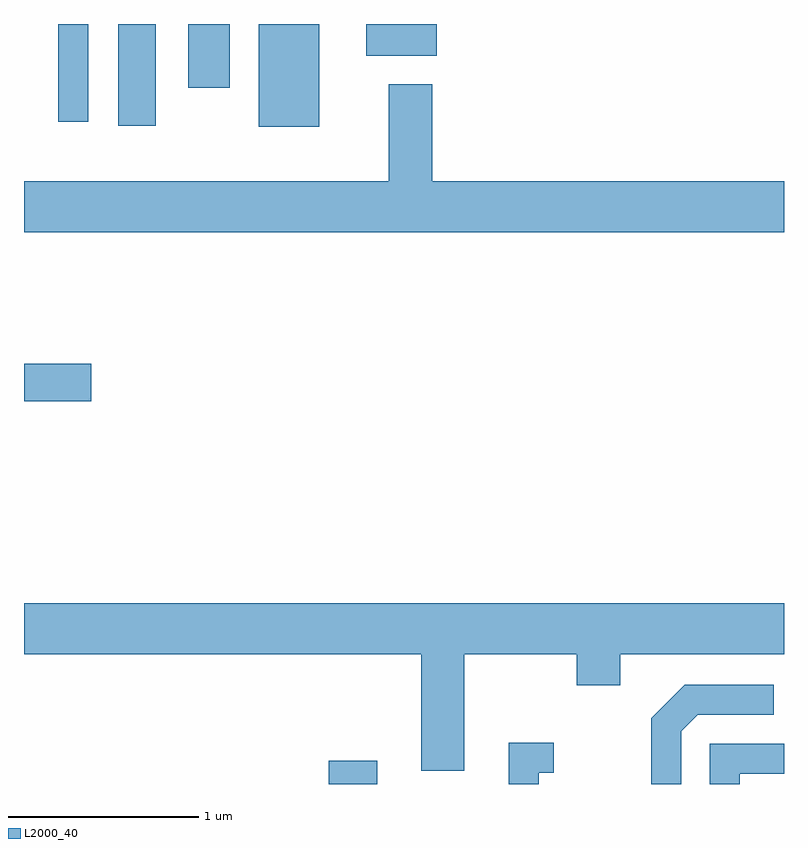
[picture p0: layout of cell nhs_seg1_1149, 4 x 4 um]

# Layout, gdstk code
import gdstk
lib = gdstk.Library(unit=1e-6, precision=1e-09)
def R(c, l, rs):  # rectangles x0, y0, x1, y1
    for r in rs: c.add(gdstk.rectangle(r[:2], r[2:], *l))
def P(c, l, *ps):  # polygons
    for p in ps: c.add(gdstk.Polygon(p, *l))
L2000_40 = (2000, 40)

nhs_seg1_1149 = lib.new_cell('nhs_seg1_1149')
R(nhs_seg1_1149, L2000_40, [(221.216,967.712,221.469,967.834), (219.611,969.726,219.964,969.924), (220.846,971.171,221.164,971.712), (220.106,971.176,220.304,971.712), (219.791,971.198,219.949,971.712), (220.476,971.376,220.694,971.712), (221.411,971.546,221.784,971.712)])
P(nhs_seg1_1149, L2000_40, [(223.611,970.884),(221.759,970.884),(221.759,971.394),(221.531,971.394),(221.531,970.884),(219.611,970.884),(219.611,970.616),(223.611,970.616)],
  [(221.929,968.396),(222.521,968.396),(222.521,968.231),(222.749,968.231),(222.749,968.396),(223.611,968.396),(223.611,968.664),(219.611,968.664),(219.611,968.396),(221.701,968.396),(221.701,967.781),(221.929,967.781)],
  [(223.069,967.989),(223.157,968.076),(223.558,968.076),(223.558,968.234),(223.089,968.234),(222.911,968.057),(222.911,967.712),(223.069,967.712)],
  [(222.319,967.771),(222.398,967.771),(222.398,967.929),(222.161,967.929),(222.161,967.712),(222.319,967.712)],
  [(223.379,967.766),(223.611,967.766),(223.611,967.924),(223.221,967.924),(223.221,967.712),(223.379,967.712)])

lib.write_gds('nhs_seg1_1149.gds')
